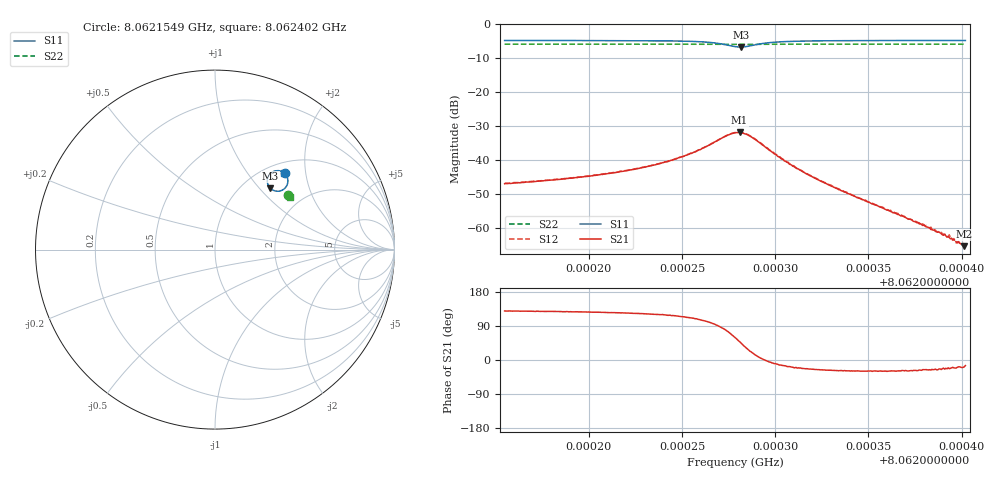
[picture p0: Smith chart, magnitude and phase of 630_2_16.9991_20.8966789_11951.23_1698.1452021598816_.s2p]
#  HZ  S  RI  R  50.00
! Rohde & Schwarz Vector Network Analyzer
! Rohde-Schwarz,ZNB20-2Port,1311601062101988,3.16
! Created: UTC 3/20/2024, 11:20:18 PM
! freq[Hz]  re:S11  im:S11  re:S21  im:S21  re:S12  im:S12  re:S22  im:S22
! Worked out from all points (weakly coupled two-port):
!   401 points, 8.0621549 GHz to 8.062402 GHz, reference 50 ohm
!   highest |S21| = -31.83 dB at 8.0622809 GHz (marker M1); lowest = -65.3 dB at 8.0624014 GHz (marker M2)
!   lowest |S11| = -6.7 dB at 8.0622816 GHz (marker M3), VSWR 2.71, Z = 66.4 + j57.5 ohm
!   |S11| at or under -10 dB: nowhere
!   |S22| runs from -6.0 to -5.9 dB; largest |S21 - S12| = 0.0015
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8.06215493e9  0.3884 0.425  -0.00286 0.00348  -0.0027 0.00368  0.4078 0.3029
8.06219632e9  0.3939 0.4186  -0.0034 0.00452  -0.00313 0.00475  0.4092 0.3006
8.06221917e9  0.3981 0.4123  -0.00389 0.00573  -0.0036 0.006  0.4101 0.2993
8.0622377e9  0.4027 0.4029  -0.00438 0.00765  -0.00397 0.00797  0.4107 0.2979
8.06224512e9  0.4046 0.3966  -0.00468 0.009  -0.00402 0.00922  0.4111 0.2974
8.062255e9  0.4062 0.3834  -0.00456 0.0118  -0.0038 0.0119  0.4112 0.2963
8.06226612e9  0.3997 0.3559  -0.00219 0.0174  -0.0012 0.0177  0.4108 0.2946
8.06227415e9  0.3684 0.3286  0.00533 0.0224  0.00654 0.0223  0.4095 0.2935
8.06227848e9  0.3341 0.327  0.0129 0.0218  0.0141 0.0213  0.4082 0.2937
8.06228095e9  0.3134 0.3373  0.017 0.0192  0.0182 0.0182  0.4074 0.2941
8.06228156e9  0.3091 0.3411  0.0179 0.0181  0.019 0.0173  0.4074 0.2944
8.06228651e9  0.2912 0.3805  0.0207 0.00888  0.0214 0.00814  0.4072 0.2961
8.06229577e9  0.3133 0.4279  0.0148 -0.000724  0.0151 -0.00174  0.4091 0.2974
8.06230875e9  0.3439 0.4399  0.00805 -0.00271  0.00796 -0.00315  0.4112 0.2969
8.06231987e9  0.3577 0.4394  0.00519 -0.00234  0.0051 -0.0027  0.412 0.2961
8.06233531e9  0.3681 0.4368  0.00317 -0.00166  0.00311 -0.00192  0.4129 0.2952
8.06236125e9  0.3772 0.4329  0.00159 -0.000881  0.00151 -0.000956  0.414 0.2937
8.06239214e9  0.3831 0.4292  0.000679 -0.000292  0.000703 -0.000344  0.4153 0.2919
8.06239585e9  0.3838 0.4288  0.000632 -0.000238  0.000633 -0.000306  0.4155 0.2917
8.06240017e9  0.3843 0.4284  0.000533 -0.000193  0.00054 -0.000206  0.4155 0.2915
8.06240141e9  0.3845 0.4283  0.000517 -0.000169  0.000521 -0.000212  0.4158 0.2915
8.06240203e9  0.3847 0.4282  0.000554 -0.000147  0.000522 -0.000186  0.4157 0.2914
